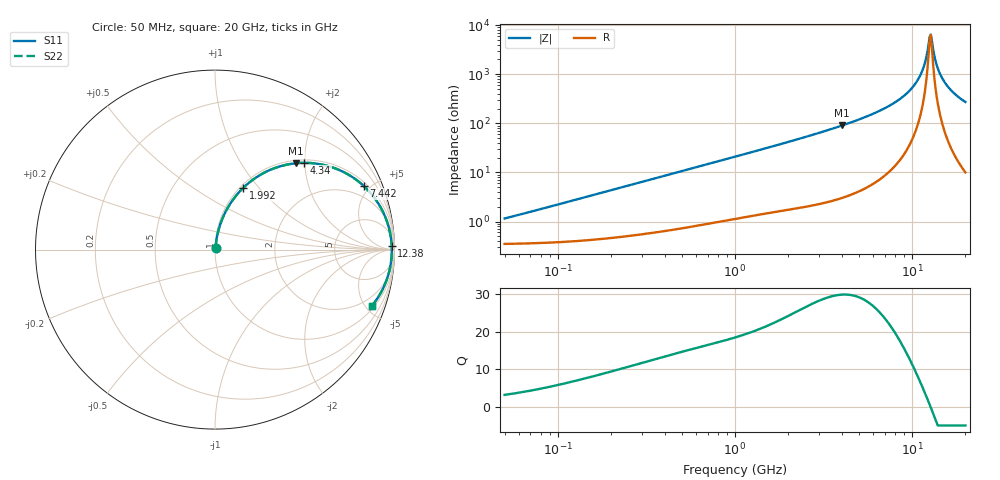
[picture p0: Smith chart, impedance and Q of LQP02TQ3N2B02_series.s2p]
!Murata Part Number: LQP02TQ3N2B02
!These Parameters are Measured in Series Mode Connection
!  o--[Z]--o
!Port1  Port2
!  o-------o
!Freq. Start=50[MHz] Stop=20[GHz], 401[Steps]
# Hz S RI R 50
!Freq.(Hz) S11(Real) S11(Imag) S21(Real) S21(Imag) S12(Real) S12(Imag) S22(Real) S22(Imag)
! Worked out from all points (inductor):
!   401 points, 50 MHz to 20 GHz, reference 50 ohm
!   read as one part in series: L = 3.5 nH near 51.52 MHz
!   highest Q = 29.9 at 4.027 GHz (marker M1), where L = 3.57 nH
!   self-resonance near 12.57 GHz
!   S11 on the Smith chart (normalised r, x): 50 MHz: 1.01, +0.02; 1.992 GHz: 1.03, +0.83; 4.34 GHz: 1.07, +1.98; 7.442 GHz: 1.21, +4.56; 12.38 GHz: 50, +63; 20 GHz: 1.20, -5.44
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5e7  0.0036 0.0109  0.9964 -0.0109  0.9964 -0.0109  0.0036 0.0109
1.364002e8  0.00493 0.0295  0.9951 -0.0295  0.9951 -0.0295  0.00493 0.0295
3.721004e8  0.0123 0.078  0.9877 -0.078  0.9877 -0.078  0.0123 0.078
1e9  0.0516 0.1957  0.9484 -0.1957  0.9484 -0.1957  0.0516 0.1957
1.99176e9  0.1578 0.3445  0.8422 -0.3445  0.8422 -0.3445  0.1578 0.3445
2.728004e9  0.2594 0.4204  0.7406 -0.4204  0.7406 -0.4204  0.2594 0.4204
4.026975e9  0.4515 0.4812  0.5485 -0.4812  0.5485 -0.4812  0.4515 0.4812
4.34015e9  0.4962 0.4835  0.5038 -0.4835  0.5038 -0.4835  0.4962 0.4835
5.683258e9  0.6667 0.4537  0.3333 -0.4537  0.3333 -0.4537  0.6667 0.4537
7.442007e9  0.8279 0.3554  0.1721 -0.3554  0.1721 -0.3554  0.8279 0.3554
9.041845e9  0.9177 0.2442  0.0823 -0.2442  0.0823 -0.2442  0.9177 0.2442
1.050288e10  0.9631 0.1417  0.0369 -0.1417  0.0369 -0.1417  0.9631 0.1417
1.149051e10  0.9787 0.0757  0.0213 -0.0757  0.0213 -0.0757  0.9787 0.0757
1.183995e10  0.9819 0.0532  0.0181 -0.0532  0.0181 -0.0532  0.9819 0.0532
1.238412e10  0.9846 0.0193  0.0154 -0.0193  0.0154 -0.0193  0.9846 0.0193
1.257102e10  0.985 0.0079  0.015 -0.0079  0.015 -0.0079  0.985 0.0079
1.295331e10  0.985 -0.0148  0.015 0.0148  0.015 0.0148  0.985 -0.0148
1.354865e10  0.983 -0.0489  0.017 0.0489  0.017 0.0489  0.983 -0.0489
1.396067e10  0.9804 -0.0715  0.0196 0.0715  0.0196 0.0715  0.9804 -0.0715
1.527346e10  0.9662 -0.1381  0.0338 0.1381  0.0338 0.1381  0.9662 -0.1381
1.721783e10  0.9333 -0.2223  0.0667 0.2223  0.0667 0.2223  0.9333 -0.2223
2e10  0.8721 -0.316  0.1279 0.316  0.1279 0.316  0.8721 -0.316
